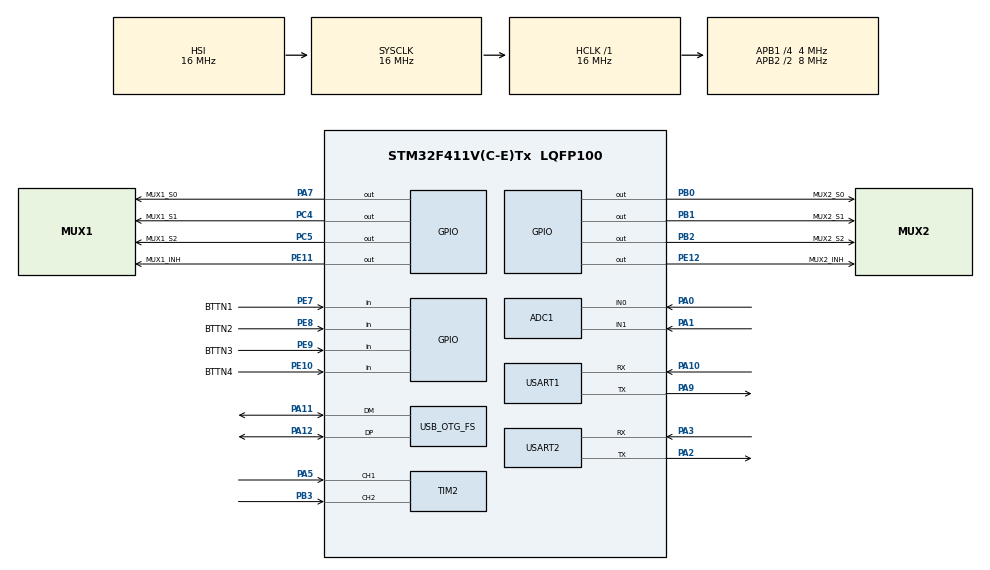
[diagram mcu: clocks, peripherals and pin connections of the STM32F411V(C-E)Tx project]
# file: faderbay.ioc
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ADC1.Channel-0\#ChannelRegularConversion=ADC_CHANNEL_0
ADC1.NbrOfConversion=1
ADC1.NbrOfConversionFlag=1
ADC1.Rank-0\#ChannelRegularConversion=1
ADC1.SamplingTime-0\#ChannelRegularConversion=ADC_SAMPLETIME_3CYCLES
ADC1.master=1
Mcu.Family=STM32F4
Mcu.Name=STM32F411V(C-E)Tx
Mcu.Package=LQFP100
NVIC.OTG_FS_IRQn=true\:0\:0\:false\:false\:true\:false\:true\:true
NVIC.PriorityGroup=NVIC_PRIORITYGROUP_0
NVIC.USART1_IRQn=true\:0\:0\:false\:false\:true\:true\:true\:true
NVIC.USART2_IRQn=true\:0\:0\:false\:false\:true\:true\:true\:true
PA0-WKUP.Signal=ADCx_IN0
PA1.Signal=ADCx_IN1
PA10.Mode=Asynchronous
PA10.Signal=USART1_RX
PA11.Mode=Device_Only
PA11.Signal=USB_OTG_FS_DM
PA12.Mode=Device_Only
PA12.Signal=USB_OTG_FS_DP
PA2.Mode=Asynchronous
PA2.Signal=USART2_TX
PA3.Mode=Asynchronous
PA3.Signal=USART2_RX
PA5.Signal=S_TIM2_CH1_ETR
PA7.GPIO_Label=MUX1_S0
PA7.Signal=GPIO_Output
PA9.Mode=Asynchronous
PA9.Signal=USART1_TX
PB0.GPIO_Label=MUX2_S0
PB0.Signal=GPIO_Output
PB1.GPIO_Label=MUX2_S1
PB1.Signal=GPIO_Output
PB2.GPIO_Label=MUX2_S2
PB2.Signal=GPIO_Output
PB3.Signal=S_TIM2_CH2
PC4.GPIO_Label=MUX1_S1
PC4.Signal=GPIO_Output
PC5.GPIO_Label=MUX1_S2
PC5.Signal=GPIO_Output
PE10.GPIO_Label=BTTN4
PE10.Signal=GPIO_Input
PE11.GPIO_Label=MUX1_INH
PE11.Signal=GPIO_Output
PE12.GPIO_Label=MUX2_INH
PE12.Signal=GPIO_Output
PE7.GPIO_Label=BTTN1
PE7.Signal=GPIO_Input
PE8.GPIO_Label=BTTN2
PE8.Signal=GPIO_Input
PE9.GPIO_Label=BTTN3
PE9.Signal=GPIO_Input
PH0\ -\ OSC_IN.Mode=HSE-External-Clock-Source
PH0\ -\ OSC_IN.Signal=RCC_OSC_IN
PH1\ -\ OSC_OUT.Mode=HSE-External-Clock-Source
PH1\ -\ OSC_OUT.Signal=RCC_OSC_OUT
ProjectManager.HeapSize=0x200
ProjectManager.StackSize=0x400
ProjectManager.TargetToolchain=CMake
RCC.48MHZClocksFreq_Value=48000000
RCC.AHBFreq_Value=16000000
RCC.APB1CLKDivider=RCC_HCLK_DIV4
RCC.APB1Freq_Value=4000000
RCC.APB1TimFreq_Value=8000000
RCC.APB2CLKDivider=RCC_HCLK_DIV2
RCC.APB2Freq_Value=8000000
RCC.APB2TimFreq_Value=16000000
RCC.CortexFreq_Value=16000000
RCC.HCLKFreq_Value=16000000
RCC.HSE_VALUE=8000000
RCC.HSI_VALUE=16000000
RCC.LSE_VALUE=32768
RCC.PLLI2SM=5
RCC.PLLI2SN=200
RCC.PLLM=4
RCC.PLLN=72
RCC.PLLP=RCC_PLLP_DIV4
RCC.PLLQ=3
RCC.SYSCLKFreq_VALUE=16000000
RCC.VCOOutputFreq_Value=144000000
SH.ADCx_IN0.0=ADC1_IN0,IN0
SH.ADCx_IN1.0=ADC1_IN1,IN1
SH.S_TIM2_CH1_ETR.0=TIM2_CH1,Encoder_Interface
SH.S_TIM2_CH2.0=TIM2_CH2,Encoder_Interface
TIM2.EncoderMode=TIM_ENCODERMODE_TI12
USART1.VirtualMode=VM_ASYNC
USART2.VirtualMode=VM_ASYNC
USB_DEVICE.CLASS_NAME_FS=HID
USB_DEVICE.VirtualMode=Hid
USB_DEVICE.VirtualModeFS=Hid_FS
USB_OTG_FS.VirtualMode=Device_Only
VP_USB_DEVICE_VS_USB_DEVICE_HID_FS.Mode=HID_FS
board=STM32F411E-DISCO

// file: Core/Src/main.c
/* USER CODE BEGIN Header */
/**
  ******************************************************************************
  * @file           : main.c
  * @brief          : Main program body
  ******************************************************************************
  * @attention
  *
  * Copyright (c) 2025 STMicroelectronics.
  * All rights reserved.
  *
  * This software is licensed under terms that can be found in the LICENSE file
  * in the root directory of this software component.
  * If no LICENSE file comes with this software, it is provided AS-IS.
  *
  ******************************************************************************
  */
/* USER CODE END Header */
#include "main.h"

/* USER CODE BEGIN Includes */
//#include "device.h"
#include "device.h"
#include "string.h"
#include "cli_fns.h"
#include "device_def.h"
/* USER CODE END Includes */

ADC_HandleTypeDef hadc1;

TIM_HandleTypeDef htim2;

UART_HandleTypeDef huart1;
UART_HandleTypeDef huart2;

/* USER CODE BEGIN PV */
Device_t device;
cli_t cli;
uint8_t rx_buffer;
Flash_Write_Block_t device_config_block;
/* USER CODE END PV */

void SystemClock_Config(void);
static void MX_GPIO_Init(void);
static void MX_ADC1_Init(void);
static void MX_TIM2_Init(void);
static void MX_USART1_UART_Init(void);
static void MX_USART2_UART_Init(void);
/* USER CODE BEGIN PFP */
void Device_Init(Device_t *device);
void Device_Update(Device_t *device);
void user_uart_println(char *string);
device_error_t CLI_init();
/* USER CODE END PFP */

int main(void)
{

  /* MCU Configuration--------------------------------------------------------*/

  /* Reset of all peripherals, Initializes the Flash interface and the Systick. */
  HAL_Init();

  /* Configure the system clock */
  SystemClock_Config();

  /* Initialize all configured peripherals */
  MX_GPIO_Init();
  MX_ADC1_Init();
  MX_TIM2_Init();
  MX_USART1_UART_Init();
  MX_USART2_UART_Init();
  /* USER CODE BEGIN 2 */
  Device_Init(&device);
  /* USER CODE END 2 */

  /* Infinite loop */
  while (1)
  {

    /* USER CODE BEGIN 3 */
    Device_Update(&device);
    #ifdef USE_CLI
      cli_process(&cli);
    #endif
  }
  /* USER CODE END 3 */
}

void SystemClock_Config(void)
{
  RCC_OscInitTypeDef RCC_OscInitStruct = {0};
  RCC_ClkInitTypeDef RCC_ClkInitStruct = {0};

  /** Configure the main internal regulator output voltage
  */
  __HAL_RCC_PWR_CLK_ENABLE();
  __HAL_PWR_VOLTAGESCALING_CONFIG(PWR_REGULATOR_VOLTAGE_SCALE1);

  /** Initializes the RCC Oscillators according to the specified parameters
  * in the RCC_OscInitTypeDef structure.
  */
  RCC_OscInitStruct.OscillatorType = RCC_OSCILLATORTYPE_HSI;
  RCC_OscInitStruct.HSIState = RCC_HSI_ON;
  RCC_OscInitStruct.HSICalibrationValue = RCC_HSICALIBRATION_DEFAULT;
  RCC_OscInitStruct.PLL.PLLState = RCC_PLL_NONE;
  if (HAL_RCC_OscConfig(&RCC_OscInitStruct) != HAL_OK)
  {
    Error_Handler();
  }

  /** Initializes the CPU, AHB and APB buses clocks
  */
  RCC_ClkInitStruct.ClockType = RCC_CLOCKTYPE_HCLK|RCC_CLOCKTYPE_SYSCLK
                              |RCC_CLOCKTYPE_PCLK1|RCC_CLOCKTYPE_PCLK2;
  RCC_ClkInitStruct.SYSCLKSource = RCC_SYSCLKSOURCE_HSI;
  RCC_ClkInitStruct.AHBCLKDivider = RCC_SYSCLK_DIV1;
  RCC_ClkInitStruct.APB1CLKDivider = RCC_HCLK_DIV4;
  RCC_ClkInitStruct.APB2CLKDivider = RCC_HCLK_DIV2;

  if (HAL_RCC_ClockConfig(&RCC_ClkInitStruct, FLASH_LATENCY_0) != HAL_OK)
  {
    Error_Handler();
  }
}

static void MX_ADC1_Init(void)
{

  ADC_ChannelConfTypeDef sConfig = {0};

  /** Configure the global features of the ADC (Clock, Resolution, Data Alignment and number of conversion)
  */
  hadc1.Instance = ADC1;
  hadc1.Init.ClockPrescaler = ADC_CLOCK_SYNC_PCLK_DIV2;
  hadc1.Init.Resolution = ADC_RESOLUTION_12B;
  hadc1.Init.ScanConvMode = DISABLE;
  hadc1.Init.ContinuousConvMode = DISABLE;
  hadc1.Init.DiscontinuousConvMode = DISABLE;
  hadc1.Init.ExternalTrigConvEdge = ADC_EXTERNALTRIGCONVEDGE_NONE;
  hadc1.Init.ExternalTrigConv = ADC_SOFTWARE_START;
  hadc1.Init.DataAlign = ADC_DATAALIGN_RIGHT;
  hadc1.Init.NbrOfConversion = 1;
  hadc1.Init.DMAContinuousRequests = DISABLE;
  hadc1.Init.EOCSelection = ADC_EOC_SINGLE_CONV;
  if (HAL_ADC_Init(&hadc1) != HAL_OK)
  {
    Error_Handler();
  }

  /** Configure for the selected ADC regular channel its corresponding rank in the sequencer and its sample time.
  */
  sConfig.Channel = ADC_CHANNEL_0;
  sConfig.Rank = 1;
  sConfig.SamplingTime = ADC_SAMPLETIME_3CYCLES;
  if (HAL_ADC_ConfigChannel(&hadc1, &sConfig) != HAL_OK)
  {
    Error_Handler();
  }

}

static void MX_TIM2_Init(void)
{

  TIM_Encoder_InitTypeDef sConfig = {0};
  TIM_MasterConfigTypeDef sMasterConfig = {0};

  htim2.Instance = TIM2;
  htim2.Init.Prescaler = 0;
  htim2.Init.CounterMode = TIM_COUNTERMODE_UP;
  htim2.Init.Period = 4294967295;
  htim2.Init.ClockDivision = TIM_CLOCKDIVISION_DIV1;
  htim2.Init.AutoReloadPreload = TIM_AUTORELOAD_PRELOAD_DISABLE;
  sConfig.EncoderMode = TIM_ENCODERMODE_TI12;
  sConfig.IC1Polarity = TIM_ICPOLARITY_RISING;
  sConfig.IC1Selection = TIM_ICSELECTION_DIRECTTI;
  sConfig.IC1Prescaler = TIM_ICPSC_DIV1;
  sConfig.IC1Filter = 0;
  sConfig.IC2Polarity = TIM_ICPOLARITY_RISING;
  sConfig.IC2Selection = TIM_ICSELECTION_DIRECTTI;
  sConfig.IC2Prescaler = TIM_ICPSC_DIV1;
  sConfig.IC2Filter = 0;
  if (HAL_TIM_Encoder_Init(&htim2, &sConfig) != HAL_OK)
  {
    Error_Handler();
  }
  sMasterConfig.MasterOutputTrigger = TIM_TRGO_RESET;
  sMasterConfig.MasterSlaveMode = TIM_MASTERSLAVEMODE_DISABLE;
  if (HAL_TIMEx_MasterConfigSynchronization(&htim2, &sMasterConfig) != HAL_OK)
  {
    Error_Handler();
  }

}

static void MX_USART1_UART_Init(void)
{

  huart1.Instance = USART1;
  huart1.Init.BaudRate = 31250;
  huart1.Init.WordLength = UART_WORDLENGTH_8B;
  huart1.Init.StopBits = UART_STOPBITS_1;
  huart1.Init.Parity = UART_PARITY_NONE;
  huart1.Init.Mode = UART_MODE_TX;
  huart1.Init.HwFlowCtl = UART_HWCONTROL_NONE;
  huart1.Init.OverSampling = UART_OVERSAMPLING_16;
  if (HAL_UART_Init(&huart1) != HAL_OK)
  {
    Error_Handler();
  }

}

static void MX_USART2_UART_Init(void)
{

  huart2.Instance = USART2;
  huart2.Init.BaudRate = 115200;
  huart2.Init.WordLength = UART_WORDLENGTH_8B;
  huart2.Init.StopBits = UART_STOPBITS_1;
  huart2.Init.Parity = UART_PARITY_NONE;
  huart2.Init.Mode = UART_MODE_TX_RX;
  huart2.Init.HwFlowCtl = UART_HWCONTROL_NONE;
  huart2.Init.OverSampling = UART_OVERSAMPLING_16;
  if (HAL_UART_Init(&huart2) != HAL_OK)
  {
    Error_Handler();
  }

}

static void MX_GPIO_Init(void)
{
  GPIO_InitTypeDef GPIO_InitStruct = {0};

  /* GPIO Ports Clock Enable */
  __HAL_RCC_GPIOH_CLK_ENABLE();
  __HAL_RCC_GPIOA_CLK_ENABLE();
  __HAL_RCC_GPIOC_CLK_ENABLE();
  __HAL_RCC_GPIOB_CLK_ENABLE();
  __HAL_RCC_GPIOE_CLK_ENABLE();

  /*Configure GPIO pin Output Level */
  HAL_GPIO_WritePin(MUX1_S0_GPIO_Port, MUX1_S0_Pin, GPIO_PIN_RESET);

  /*Configure GPIO pin Output Level */
  HAL_GPIO_WritePin(GPIOC, MUX1_S1_Pin|MUX1_S2_Pin, GPIO_PIN_RESET);

  /*Configure GPIO pin Output Level */
  HAL_GPIO_WritePin(GPIOB, MUX2_S0_Pin|MUX2_S1_Pin|MUX2_S2_Pin, GPIO_PIN_RESET);

  /*Configure GPIO pin Output Level */
  HAL_GPIO_WritePin(GPIOE, MUX1_INH_Pin|MUX2_INH_Pin, GPIO_PIN_RESET);

  /*Configure GPIO pin : MUX1_S0_Pin */
  GPIO_InitStruct.Pin = MUX1_S0_Pin;
  GPIO_InitStruct.Mode = GPIO_MODE_OUTPUT_PP;
  GPIO_InitStruct.Pull = GPIO_NOPULL;
  GPIO_InitStruct.Speed = GPIO_SPEED_FREQ_LOW;
  HAL_GPIO_Init(MUX1_S0_GPIO_Port, &GPIO_InitStruct);

  /*Configure GPIO pins : MUX1_S1_Pin MUX1_S2_Pin */
  GPIO_InitStruct.Pin = MUX1_S1_Pin|MUX1_S2_Pin;
  GPIO_InitStruct.Mode = GPIO_MODE_OUTPUT_PP;
  GPIO_InitStruct.Pull = GPIO_NOPULL;
  GPIO_InitStruct.Speed = GPIO_SPEED_FREQ_LOW;
  HAL_GPIO_Init(GPIOC, &GPIO_InitStruct);

  /*Configure GPIO pins : MUX2_S0_Pin MUX2_S1_Pin MUX2_S2_Pin */
  GPIO_InitStruct.Pin = MUX2_S0_Pin|MUX2_S1_Pin|MUX2_S2_Pin;
  GPIO_InitStruct.Mode = GPIO_MODE_OUTPUT_PP;
  GPIO_InitStruct.Pull = GPIO_NOPULL;
  GPIO_InitStruct.Speed = GPIO_SPEED_FREQ_LOW;
  HAL_GPIO_Init(GPIOB, &GPIO_InitStruct);

  /*Configure GPIO pins : BTTN1_Pin BTTN2_Pin BTTN3_Pin BTTN4_Pin */
  GPIO_InitStruct.Pin = BTTN1_Pin|BTTN2_Pin|BTTN3_Pin|BTTN4_Pin;
  GPIO_InitStruct.Mode = GPIO_MODE_INPUT;
  GPIO_InitStruct.Pull = GPIO_NOPULL;
  HAL_GPIO_Init(GPIOE, &GPIO_InitStruct);

  /*Configure GPIO pins : MUX1_INH_Pin MUX2_INH_Pin */
  GPIO_InitStruct.Pin = MUX1_INH_Pin|MUX2_INH_Pin;
  GPIO_InitStruct.Mode = GPIO_MODE_OUTPUT_PP;
  GPIO_InitStruct.Pull = GPIO_NOPULL;
  GPIO_InitStruct.Speed = GPIO_SPEED_FREQ_LOW;
  HAL_GPIO_Init(GPIOE, &GPIO_InitStruct);

}

/* USER CODE BEGIN 4 */
void Device_Init(Device_t *device)
{
  device->midi_handle = &huart1;

  /* UI Init */
  DEVICE_PROCESS(UI_Init(&device->UI));
  device->current_preset = 1;
  device->midi_to_send = 0;

  /* Reading from Flash */
  Flash_Read_Configs(&device_config_block);
  if (Is_First_Initialization())
  {
    Set_Config_Default(&device->current_config);
    Init_Presets();
  } else {
    memcpy(device->presets, device_config_block.current_presets, sizeof(device_config_block.current_presets));
    memcpy(&device->current_config, &device_config_block.current_config, sizeof(device_config_block.current_config));
  }
  #ifdef USE_CLI
    CLI_init();
  #endif

  PRINT("-------------- DEVICE INITIALIZED --------------\r\n");

}

void Device_Update(Device_t *device)
{
  UI_Poll(&device->UI);
  // TO DO: Oled_Update();
  DEVICE_PROCESS(Midi_Update());
}

void user_uart_println(char *string)
{
  DEVICE_PROCESS(HAL_UART_Transmit(&huart2, (uint8_t *)string, strlen(string), HAL_MAX_DELAY));
}

void HAL_UART_RxCpltCallback(UART_HandleTypeDef *huart) {
  if (huart->Instance == USART2) {
      cli_put(&cli, rx_buffer);
      HAL_UART_Receive_IT(&huart2, &rx_buffer, 1);
  }
}

device_error_t CLI_init()
{
  cli_status_t rslt = CLI_OK;
  cli.cmd_tbl = cmd_tbl;
  cli.cmd_cnt = sizeof(cmd_tbl) / sizeof(cmd_t);
  cli.println = user_uart_println;
  if((rslt = cli_init(&cli)) != CLI_OK)
  {
    user_uart_println("[ERROR]: CLI failed to initialise\r\n");
    return DEVICE_CLI_ERROR;
  } else {
    PRINT("CLI Initialised\r\n");
  }
  HAL_UART_Receive_IT(&huart2, &rx_buffer, 1);
  return DEVICE_OK;
}

int _write(int file, char *ptr, int len)
{
    HAL_UART_Transmit(&huart2, (uint8_t*)ptr, len, HAL_MAX_DELAY);
    return len;
}

/* USER CODE END 4 */

void Error_Handler(void)
{
  __disable_irq();
  while (1)
  {
  }
}
